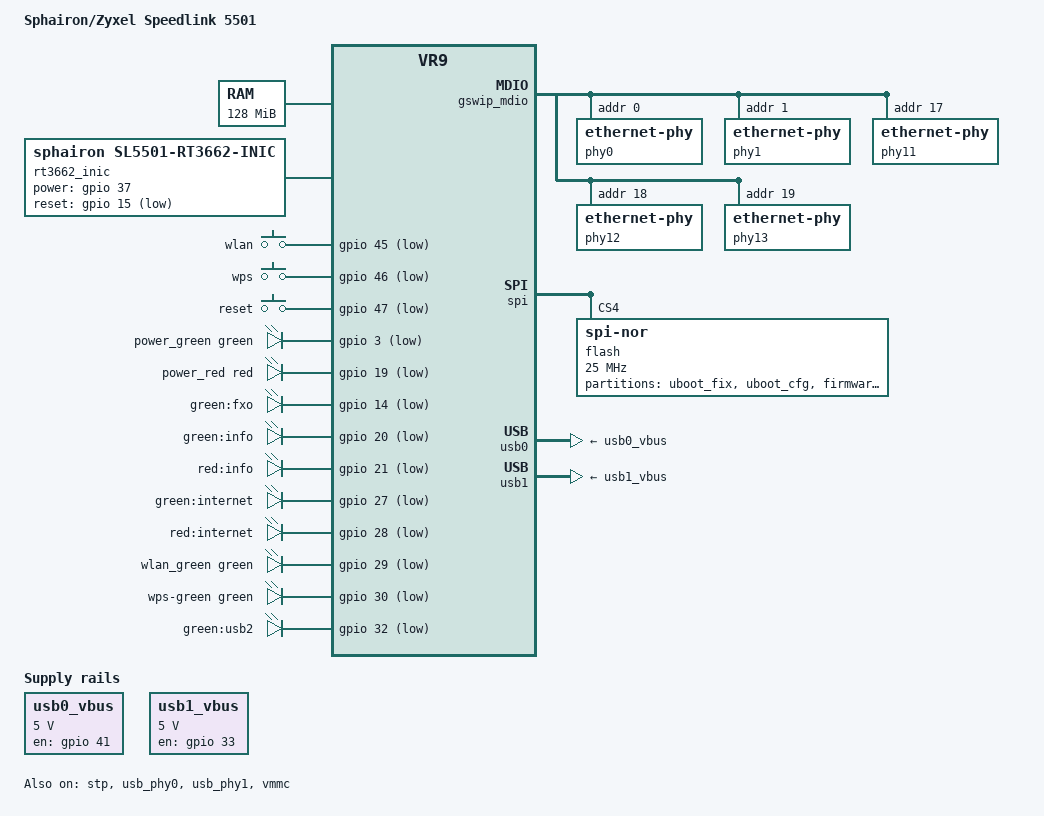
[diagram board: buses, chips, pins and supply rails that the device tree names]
/dts-v1/;

#include "vr9.dtsi"

#include <dt-bindings/gpio/gpio.h>
#include <dt-bindings/input/input.h>
#include <dt-bindings/leds/common.h>
#include <dt-bindings/mips/lantiq_rcu_gphy.h>

/ {
	compatible = "sphairon,sl5501", "lantiq,xway", "lantiq,vr9";
	model = "Sphairon/Zyxel Speedlink 5501";

	chosen {
		bootargs = "console=ttyLTQ0,115200";
	};

	aliases {
		led-boot = &power_green;
		led-failsafe = &power_red;
		led-running = &power_green;
		led-upgrade = &power_green;
		led-internet = &internet_green;
		led-wifi = &wlan_green;
	};

	memory@0 {
		device_type = "memory";
		reg = <0x0 0x08000000>; /* 128 MiB */
	};

	/*
	 * The on-board Ralink WLAN is an iNIC, not a PCI/PCIe WLAN adapter.
	 * The VR9 host exchanges RACFG frames with it through GSWIP port 5.
	 */
	rt3662_inic: wifi-inic {
		compatible = "sphairon,sl5501-rt3662-inic", "ralink,rt3662-inic-mii";
		power-gpios = <&gpio 37 GPIO_ACTIVE_HIGH>;
		reset-gpios = <&gpio 15 GPIO_ACTIVE_LOW>;
		ralink,mii-master = "wifi";
	};

	keys {
		compatible = "gpio-keys-polled";
		poll-interval = <100>;

		wlan {
			label = "wlan";
			gpios = <&gpio 45 GPIO_ACTIVE_LOW>;
			linux,code = <KEY_RFKILL>;
		};

		wps {
			label = "wps";
			gpios = <&gpio 46 GPIO_ACTIVE_LOW>;
			linux,code = <KEY_WPS_BUTTON>;
		};

		reset {
			label = "reset";
			gpios = <&gpio 47 GPIO_ACTIVE_LOW>;
			linux,code = <KEY_RESTART>;
		};
	};

	leds {
		compatible = "gpio-leds";

		power_green: power-green {
			function = LED_FUNCTION_POWER;
			color = <LED_COLOR_ID_GREEN>;
			gpios = <&gpio 3 GPIO_ACTIVE_LOW>;
			default-state = "keep";
		};

		power_red: power-red {
			function = LED_FUNCTION_POWER;
			color = <LED_COLOR_ID_RED>;
			gpios = <&gpio 19 GPIO_ACTIVE_LOW>;
		};

		fxo-green {
			label = "green:fxo";
			gpios = <&gpio 14 GPIO_ACTIVE_LOW>;
		};

		info-green {
			label = "green:info";
			gpios = <&gpio 20 GPIO_ACTIVE_LOW>;
		};

		info-red {
			label = "red:info";
			gpios = <&gpio 21 GPIO_ACTIVE_LOW>;
		};

		internet_green: internet-green {
			label = "green:internet";
			gpios = <&gpio 27 GPIO_ACTIVE_LOW>;
		};

		internet-red {
			label = "red:internet";
			gpios = <&gpio 28 GPIO_ACTIVE_LOW>;
		};

		wlan_green: wlan-green {
			function = LED_FUNCTION_WLAN;
			color = <LED_COLOR_ID_GREEN>;
			gpios = <&gpio 29 GPIO_ACTIVE_LOW>;
		};

		wps-green {
			function = LED_FUNCTION_WPS;
			color = <LED_COLOR_ID_GREEN>;
			gpios = <&gpio 30 GPIO_ACTIVE_LOW>;
		};

		usb2-green {
			label = "green:usb2";
			gpios = <&gpio 32 GPIO_ACTIVE_LOW>;
			trigger-sources = <&ehci_port2>;
			linux,default-trigger = "usbport";
		};
	};

	usb0_vbus: regulator-usb0-vbus {
		compatible = "regulator-fixed";
		regulator-name = "USB0_VBUS";
		regulator-min-microvolt = <5000000>;
		regulator-max-microvolt = <5000000>;
		gpios = <&gpio 41 GPIO_ACTIVE_HIGH>;
		enable-active-high;
	};

	usb1_vbus: regulator-usb1-vbus {
		compatible = "regulator-fixed";
		regulator-name = "USB1_VBUS";
		regulator-min-microvolt = <5000000>;
		regulator-max-microvolt = <5000000>;
		gpios = <&gpio 33 GPIO_ACTIVE_HIGH>;
		enable-active-high;
	};
};

/* OEM/U-Boot: GPHY0 uses 22F (10/100), GPHY1 uses 11G (Gigabit). */
&gphy0 {
	lantiq,gphy-mode = <GPHY_MODE_FE>;
};

&gphy1 {
	lantiq,gphy-mode = <GPHY_MODE_GE>;
};

&gswip {
	pinctrl-0 = <&mdio_pins>;
	pinctrl-names = "default";
};

&gswip_mdio {
	/* External Lantiq PEF7071 PHYs. */
	phy0: ethernet-phy@0 {
		reg = <0x0>;
	};

	phy1: ethernet-phy@1 {
		reg = <0x1>;
	};

	/* Internal VR9 GPHY addresses used by the OEM board code. */
	phy11: ethernet-phy@11 {
		reg = <0x11>;
	};

	phy12: ethernet-phy@12 {
		reg = <0x12>;
	};

	phy13: ethernet-phy@13 {
		reg = <0x13>;
	};
};

&gswip_ports {
	/*
	 * OEM mapping:
	 *   GMAC0 = WANoE (external PEF7071)
	 *   GMAC1 = LAN4  (external PEF7071)
	 *   GMAC2 = LAN1  (internal PHY 0x11)
	 *   GMAC3 = LAN2  (internal PHY 0x12)
	 *   GMAC4 = LAN3  (internal PHY 0x13)
	 *   GMAC5 = Ralink RT3662/RT5392 iNIC
	 */
	port@0 {
		reg = <0>;
		label = "wan";
		/* PEF7071 is strapped for 1.5 ns TX/RX delay. */
		phy-mode = "rgmii-id";
		phy-handle = <&phy0>;
	};

	port@1 {
		reg = <1>;
		label = "lan4";
		/* Same externally delayed PEF7071 interface as GMAC0. */
		phy-mode = "rgmii-id";
		phy-handle = <&phy1>;
	};

	port@2 {
		reg = <2>;
		label = "lan1";
		phy-mode = "internal";
		phy-handle = <&phy11>;
	};

	port@3 {
		reg = <3>;
		label = "lan2";
		phy-mode = "internal";
		phy-handle = <&phy12>;
	};

	port@4 {
		reg = <4>;
		label = "lan3";
		phy-mode = "internal";
		phy-handle = <&phy13>;
	};

	/* No MDIO PHY: this is the fixed host link to the Ralink iNIC. */
	port@5 {
		reg = <5>;
		label = "wifi";
		phy-mode = "rgmii";

		fixed-link {
			speed = <1000>;
			full-duplex;
		};
	};
};

&spi {
	status = "okay";

	flash@4 {
		compatible = "jedec,spi-nor";
		reg = <4>;
		spi-max-frequency = <25000000>;

		partitions {
			compatible = "fixed-partitions";
			#address-cells = <1>;
			#size-cells = <1>;

			/* NTLB layout from U_boot_2013_sl5501_ntlb_V2. */
			partition@0 {
				label = "uboot_fix";
				reg = <0x00000000 0x00080000>;
				read-only;
			};

			partition@80000 {
				label = "uboot_cfg";
				reg = <0x00080000 0x00040000>;
				/* writable: U-Boot saveenv/fw_setenv persist ethaddr here */
			};

			partition@c0000 {
				label = "firmware";
				reg = <0x000c0000 0x00f80000>; /* 15.5 MiB */
			};

			partition@1040000 {
				label = "data";
				reg = <0x01040000 0x02fc0000>; /* remaining 47.75 MiB */
			};
		};
	};
};

/* The WLAN is connected through GSWIP GMAC5, not PCI or PCIe. */
&pci0 {
	status = "disabled";
};

&pcie0 {
	status = "disabled";
};

/* Keep the VR9 serial LED/GPHY shift-register block available. */
&stp {
	status = "okay";
	lantiq,shadow = <0xffff>;
	lantiq,dsl = <0x3>;
	lantiq,phy1 = <0x7>;
	lantiq,phy2 = <0x7>;
};

&usb_phy0 {
	status = "okay";
};

&usb_phy1 {
	status = "okay";
};

&usb0 {
	status = "okay";
	vbus-supply = <&usb0_vbus>;
};

&usb1 {
	status = "okay";
	vbus-supply = <&usb1_vbus>;
};

/* SLIC reset is GPIO31 on the OEM kernel. */
&vmmc {
	status = "okay";
	gpios = <&gpio 31 GPIO_ACTIVE_HIGH>;
};
